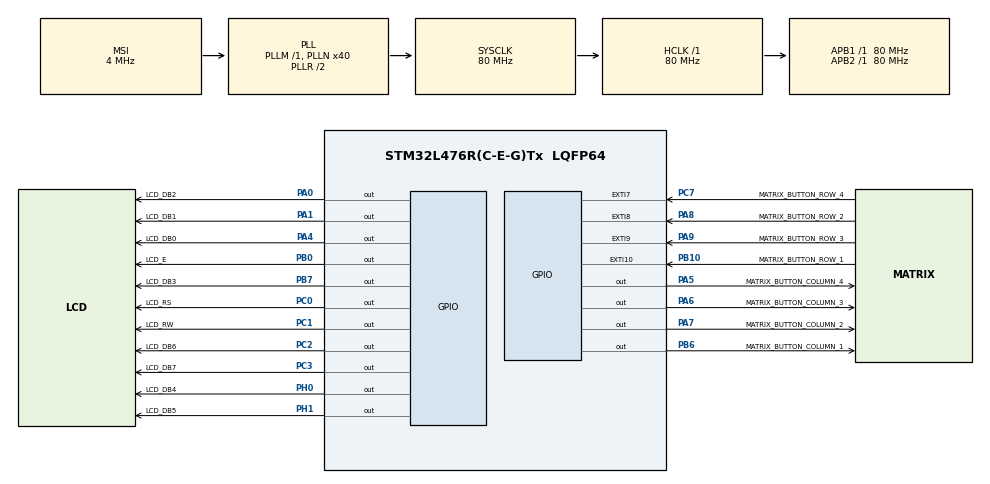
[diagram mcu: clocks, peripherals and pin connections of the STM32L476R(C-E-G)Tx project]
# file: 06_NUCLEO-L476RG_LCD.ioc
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Mcu.Family=STM32L4
Mcu.Name=STM32L476R(C-E-G)Tx
Mcu.Package=LQFP64
Mcu.UserConstants=TIMER_PRESCALER,7999;TIMER_COUNTER,9;LCD_TIMER_PRESCALER,1;LCD_TIMER_COUNTER,3
NVIC.EXTI15_10_IRQn=true\:0\:0\:false\:false\:true\:true\:true
NVIC.EXTI9_5_IRQn=true\:0\:0\:false\:false\:true\:true\:true
NVIC.PriorityGroup=NVIC_PRIORITYGROUP_4
NVIC.TIM6_DAC_IRQn=true\:0\:0\:false\:false\:true\:true\:true
NVIC.TIM7_IRQn=true\:0\:0\:false\:false\:true\:true\:true
PA0.GPIO_Label=LCD_DB2
PA0.GPIO_Speed=GPIO_SPEED_FREQ_VERY_HIGH
PA0.Signal=GPIO_Output
PA1.GPIO_Label=LCD_DB1
PA1.GPIO_Speed=GPIO_SPEED_FREQ_VERY_HIGH
PA1.Signal=GPIO_Output
PA4.GPIO_Label=LCD_DB0
PA4.GPIO_Speed=GPIO_SPEED_FREQ_VERY_HIGH
PA4.Signal=GPIO_Output
PA5.GPIO_Label=MATRIX_BUTTON_COLUMN_4
PA5.GPIO_ModeDefaultOutputPP=GPIO_MODE_OUTPUT_OD
PA5.Signal=GPIO_Output
PA6.GPIO_Label=MATRIX_BUTTON_COLUMN_3
PA6.GPIO_ModeDefaultOutputPP=GPIO_MODE_OUTPUT_OD
PA6.Signal=GPIO_Output
PA7.GPIO_Label=MATRIX_BUTTON_COLUMN_2
PA7.GPIO_ModeDefaultOutputPP=GPIO_MODE_OUTPUT_OD
PA7.Signal=GPIO_Output
PA8.GPIO_Label=MATRIX_BUTTON_ROW_2
PA8.GPIO_ModeDefaultEXTI=GPIO_MODE_IT_FALLING
PA8.GPIO_PuPd=GPIO_PULLUP
PA8.Signal=GPXTI8
PA9.GPIO_Label=MATRIX_BUTTON_ROW_3
PA9.GPIO_ModeDefaultEXTI=GPIO_MODE_IT_FALLING
PA9.GPIO_PuPd=GPIO_PULLUP
PA9.Signal=GPXTI9
PB0.GPIO_Label=LCD_E
PB0.GPIO_Speed=GPIO_SPEED_FREQ_VERY_HIGH
PB0.Signal=GPIO_Output
PB10.GPIO_Label=MATRIX_BUTTON_ROW_1
PB10.GPIO_ModeDefaultEXTI=GPIO_MODE_IT_FALLING
PB10.GPIO_PuPd=GPIO_PULLUP
PB10.Signal=GPXTI10
PB6.GPIO_Label=MATRIX_BUTTON_COLUMN_1
PB6.GPIO_ModeDefaultOutputPP=GPIO_MODE_OUTPUT_OD
PB6.Signal=GPIO_Output
PB7.GPIO_Label=LCD_DB3
PB7.GPIO_Speed=GPIO_SPEED_FREQ_VERY_HIGH
PB7.Signal=GPIO_Output
PC0.GPIO_Label=LCD_RS
PC0.GPIO_Speed=GPIO_SPEED_FREQ_VERY_HIGH
PC0.Signal=GPIO_Output
PC1.GPIO_Label=LCD_RW
PC1.GPIO_Speed=GPIO_SPEED_FREQ_VERY_HIGH
PC1.Signal=GPIO_Output
PC2.GPIO_Label=LCD_DB6
PC2.GPIO_Speed=GPIO_SPEED_FREQ_VERY_HIGH
PC2.Signal=GPIO_Output
PC3.GPIO_Label=LCD_DB7
PC3.GPIO_Speed=GPIO_SPEED_FREQ_VERY_HIGH
PC3.Signal=GPIO_Output
PC7.GPIO_Label=MATRIX_BUTTON_ROW_4
PC7.GPIO_ModeDefaultEXTI=GPIO_MODE_IT_FALLING
PC7.GPIO_PuPd=GPIO_PULLUP
PC7.Signal=GPXTI7
PH0-OSC_IN\ (PH0).GPIO_Label=LCD_DB4
PH0-OSC_IN\ (PH0).GPIO_Speed=GPIO_SPEED_FREQ_VERY_HIGH
PH0-OSC_IN\ (PH0).Signal=GPIO_Output
PH1-OSC_OUT\ (PH1).GPIO_Label=LCD_DB5
PH1-OSC_OUT\ (PH1).GPIO_Speed=GPIO_SPEED_FREQ_VERY_HIGH
PH1-OSC_OUT\ (PH1).Signal=GPIO_Output
ProjectManager.HeapSize=0x200
ProjectManager.StackSize=0x400
ProjectManager.TargetToolchain=STM32CubeIDE
RCC.AHBFreq_Value=80000000
RCC.APB1Freq_Value=80000000
RCC.APB1TimFreq_Value=80000000
RCC.APB2Freq_Value=80000000
RCC.APB2TimFreq_Value=80000000
RCC.CortexFreq_Value=80000000
RCC.HCLKFreq_Value=80000000
RCC.HSE_VALUE=8000000
RCC.HSI_VALUE=16000000
RCC.LSE_VALUE=32768
RCC.MSI_VALUE=4000000
RCC.PLLN=40
RCC.SYSCLKFreq_VALUE=80000000
RCC.SYSCLKSource=RCC_SYSCLKSOURCE_PLLCLK
RCC.VCOOutputFreq_Value=160000000
TIM6.Period=TIMER_COUNTER
TIM6.Prescaler=TIMER_PRESCALER
TIM7.Period=LCD_TIMER_COUNTER
TIM7.Prescaler=LCD_TIMER_PRESCALER
VP_TIM6_VS_ClockSourceINT.Mode=Enable_Timer
VP_TIM7_VS_ClockSourceINT.Mode=Enable_Timer
board=custom

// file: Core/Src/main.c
/* USER CODE BEGIN Header */
/**
  ******************************************************************************
  * @file           : main.c
  * @brief          : Main program body
  ******************************************************************************
  * @attention
  *
  * <h2><center>&copy; Copyright (c) 2020 STMicroelectronics.
  * All rights reserved.</center></h2>
  *
  * This software component is licensed by ST under BSD 3-Clause license,
  * the "License"; You may not use this file except in compliance with the
  * License. You may obtain a copy of the License at:
  *                        opensource.org/licenses/BSD-3-Clause
  *
  ******************************************************************************
  */
/* USER CODE END Header */

#include "main.h"
#include "tim.h"
#include "gpio.h"

/* USER CODE BEGIN Includes */
#include "common.h"
#include "software_timer.h"
#include "lcd.h"
/* USER CODE END Includes */

void SystemClock_Config(void);

int main(void)
{
	char data[40];
	uint8_t i = 0;

  /* MCU Configuration--------------------------------------------------------*/

  /* Reset of all peripherals, Initializes the Flash interface and the Systick. */
  HAL_Init();

  /* Configure the system clock */
  SystemClock_Config();

  /* Initialize all configured peripherals */
  MX_GPIO_Init();
  MX_TIM6_Init();
  MX_TIM7_Init();
  /* USER CODE BEGIN 2 */
  sSoftwareTimer.Enable();
  sLcd.Initialize();
  sLcd.WriteString(0, 0, "Hello World", LCD_ALIGN_LEFT);
  sLcd.WriteString(1, 0, "Align Left", LCD_ALIGN_LEFT);
  HAL_Delay(1000);
  sLcd.WriteString(0, 0, "Align Center", LCD_ALIGN_CENTER);
  sLcd.WriteString(1, 0, "Align Right", LCD_ALIGN_RIGHT);
  HAL_Delay(1000);

  sLcd.ClearDisplay();
  sLcd.WriteString(0, 0, "One By One Keyin", LCD_ALIGN_LEFT);
  sLcd.SetAttribute(1, CURSOR_BLINK_ON);
  sLcd.WriteCharacterTo(1, 0, 'H');
  HAL_Delay(500);
  sLcd.WriteCharacter('o');
  HAL_Delay(500);
  sLcd.WriteCharacter('w');
  HAL_Delay(500);
  sLcd.WriteCharacter(' ');
  HAL_Delay(500);
  sLcd.WriteCharacter('a');
  HAL_Delay(500);
  sLcd.WriteCharacter('r');
  HAL_Delay(500);
  sLcd.WriteCharacter('e');
  HAL_Delay(500);
  sLcd.WriteCharacter(' ');
  HAL_Delay(500);
  sLcd.WriteCharacter('y');
  HAL_Delay(500);
  sLcd.WriteCharacter('o');
  HAL_Delay(500);
  sLcd.WriteCharacter('u');
  HAL_Delay(500);
  sLcd.WriteCharacter(' ');
  HAL_Delay(500);
  sLcd.WriteCharacter('t');
  HAL_Delay(500);
  sLcd.WriteCharacter('o');
  HAL_Delay(500);
  sLcd.WriteCharacter('d');
  HAL_Delay(500);
  sLcd.SetAttribute(1, SHIFT_DISPLAY);
  sLcd.WriteCharacter('o');
  HAL_Delay(500);
  sLcd.WriteCharacter('y');
  HAL_Delay(500);
  sLcd.WriteCharacter('?');
  HAL_Delay(500);
  sLcd.WriteCharacter(' ');
  HAL_Delay(500);
  sLcd.WriteCharacter('I');
  HAL_Delay(500);
  sLcd.WriteCharacter(' ');
  HAL_Delay(500);
  sLcd.WriteCharacter('a');
  HAL_Delay(500);
  sLcd.WriteCharacter('m');
  HAL_Delay(500);
  sLcd.WriteCharacter(' ');
  HAL_Delay(500);
  sLcd.WriteCharacter('f');
  HAL_Delay(500);
  sLcd.WriteCharacter('i');
  HAL_Delay(500);
  sLcd.WriteCharacter('n');
  HAL_Delay(500);
  sLcd.WriteCharacter('e');
  HAL_Delay(500);
  sLcd.WriteCharacter('.');
  HAL_Delay(1000);

  sLcd.ClearDisplay();
  sLcd.SetAttribute(3, CURSOR_ON, CURSOR_BLINK_OFF, NO_SHIFT_DISPLAY);
  sLcd.WriteString(0, 0, "Move cursor", LCD_ALIGN_LEFT);
  sLcd.WriteString(1, 0, "Hello Walrd", LCD_ALIGN_LEFT);
  sLcd.GoTo(1, 11);
  HAL_Delay(500);
  sLcd.ShiftCursorDisplay(SHIFT_CURSOR_LEFT);
  HAL_Delay(500);
  sLcd.ShiftCursorDisplay(SHIFT_CURSOR_LEFT);
  HAL_Delay(500);
  sLcd.ShiftCursorDisplay(SHIFT_CURSOR_LEFT);
  HAL_Delay(500);
  sLcd.ShiftCursorDisplay(SHIFT_CURSOR_LEFT);
  HAL_Delay(500);
  sLcd.WriteCharacter('o');
  HAL_Delay(500);
  sLcd.WriteCharacter('r');
  HAL_Delay(500);
  sLcd.WriteCharacter('l');
  HAL_Delay(1000);

  sLcd.ClearDisplay();
  sLcd.SetAttribute(2, CURSOR_OFF, CURSOR_BLINK_OFF);
  sLcd.WriteString(0, 0, "Shift display left or right.", LCD_ALIGN_LEFT);
  sLcd.WriteString(1, 0, "                   2 line shift together", LCD_ALIGN_LEFT);
  HAL_Delay(500);
  for(i = 0; i < 40; i++)
  {
	  sLcd.ShiftCursorDisplay(SHIFT_DISPLAY_LEFT);
	  HAL_Delay(200);
  }
  for(i = 0; i < 40; i++)
  {
	  sLcd.ShiftCursorDisplay(SHIFT_DISPLAY_RIGHT);
	  HAL_Delay(200);
  }
  HAL_Delay(1000);

  sLcd.ClearDisplay();
  data[0] = CELSIUS_DEGREE_LOGO;
  data[1] = ' ';
  data[2] = BATTERY_LOGO;
  data[3] = ' ';
  data[4] = SIGNAL_LOGO;
  data[5] = ' ';
  data[6] = BULETOOTH_LOGO;
  data[7] = ' ';
  data[8] = SPEAKER_LOGO;
  data[9] = ' ';
  data[10] = CHARGING_LOGO;
  data[11] = ' ';
  data[12] = PLUG_LOGO;
  data[13] = ' ';
  data[14] = USB_LOGO;
  data[15] = ' ';
  data[16] = '\0';
  sLcd.WriteString(0, 0, "Own Logo", LCD_ALIGN_CENTER);
  sLcd.WriteString(1, 2, &data[2], LCD_ALIGN_LEFT);
  sLcd.WriteCharacterTo(1, 0, data[0]);
  HAL_Delay(500);

  /* USER CODE END 2 */

  /* Infinite loop */
  while (1)
  {

  }
}

void SystemClock_Config(void)
{
  RCC_OscInitTypeDef RCC_OscInitStruct = {0};
  RCC_ClkInitTypeDef RCC_ClkInitStruct = {0};

  /** Initializes the CPU, AHB and APB busses clocks
  */
  RCC_OscInitStruct.OscillatorType = RCC_OSCILLATORTYPE_MSI;
  RCC_OscInitStruct.MSIState = RCC_MSI_ON;
  RCC_OscInitStruct.MSICalibrationValue = 0;
  RCC_OscInitStruct.MSIClockRange = RCC_MSIRANGE_6;
  RCC_OscInitStruct.PLL.PLLState = RCC_PLL_ON;
  RCC_OscInitStruct.PLL.PLLSource = RCC_PLLSOURCE_MSI;
  RCC_OscInitStruct.PLL.PLLM = 1;
  RCC_OscInitStruct.PLL.PLLN = 40;
  RCC_OscInitStruct.PLL.PLLP = RCC_PLLP_DIV7;
  RCC_OscInitStruct.PLL.PLLQ = RCC_PLLQ_DIV2;
  RCC_OscInitStruct.PLL.PLLR = RCC_PLLR_DIV2;
  if (HAL_RCC_OscConfig(&RCC_OscInitStruct) != HAL_OK)
  {
    Error_Handler();
  }
  /** Initializes the CPU, AHB and APB busses clocks
  */
  RCC_ClkInitStruct.ClockType = RCC_CLOCKTYPE_HCLK|RCC_CLOCKTYPE_SYSCLK
                              |RCC_CLOCKTYPE_PCLK1|RCC_CLOCKTYPE_PCLK2;
  RCC_ClkInitStruct.SYSCLKSource = RCC_SYSCLKSOURCE_PLLCLK;
  RCC_ClkInitStruct.AHBCLKDivider = RCC_SYSCLK_DIV1;
  RCC_ClkInitStruct.APB1CLKDivider = RCC_HCLK_DIV1;
  RCC_ClkInitStruct.APB2CLKDivider = RCC_HCLK_DIV1;

  if (HAL_RCC_ClockConfig(&RCC_ClkInitStruct, FLASH_LATENCY_4) != HAL_OK)
  {
    Error_Handler();
  }
  /** Configure the main internal regulator output voltage
  */
  if (HAL_PWREx_ControlVoltageScaling(PWR_REGULATOR_VOLTAGE_SCALE1) != HAL_OK)
  {
    Error_Handler();
  }
}

void Error_Handler(void)
{
}

/************************ (C) COPYRIGHT STMicroelectronics *****END OF FILE****/
